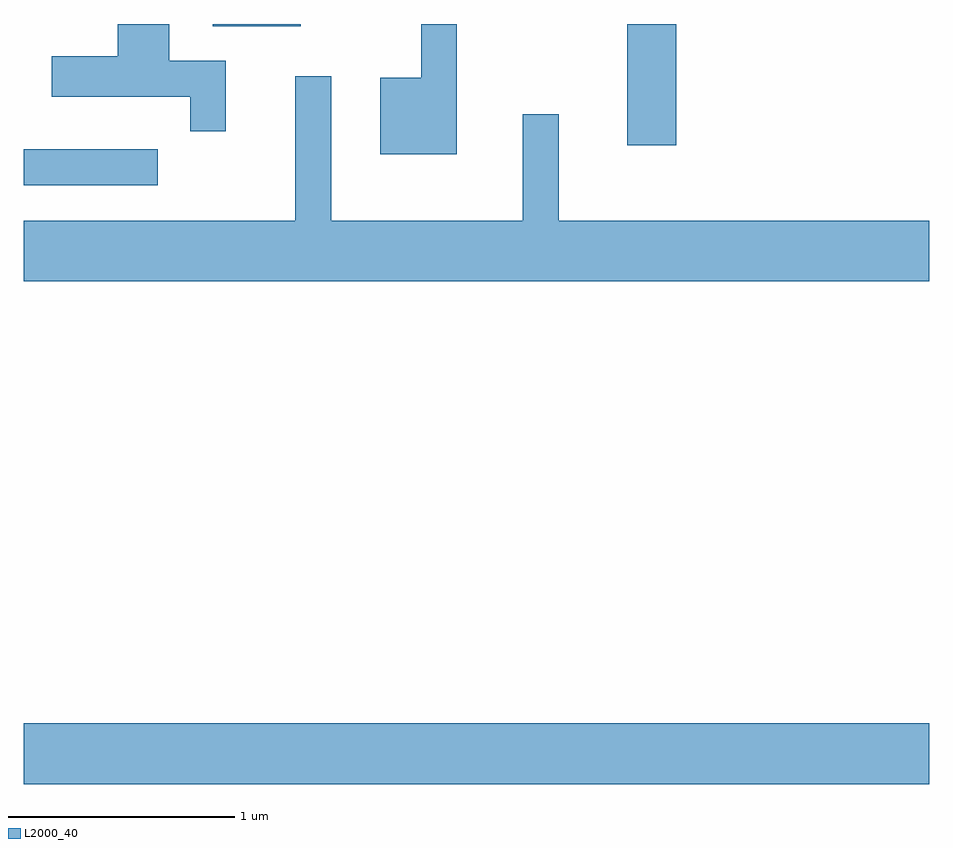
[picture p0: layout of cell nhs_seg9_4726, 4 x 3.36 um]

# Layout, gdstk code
import gdstk
lib = gdstk.Library(unit=1e-6, precision=1e-09)
def R(c, l, rs):  # rectangles x0, y0, x1, y1
    for r in rs: c.add(gdstk.rectangle(r[:2], r[2:], *l))
def P(c, l, *ps):  # polygons
    for p in ps: c.add(gdstk.Polygon(p, *l))
L2000_40 = (2000, 40)

nhs_seg9_4726 = lib.new_cell('nhs_seg9_4726')
R(nhs_seg9_4726, L2000_40, [(323.611,2065.076,327.611,2065.344), (323.611,2067.721,324.203,2067.879), (326.276,2067.896,326.494,2068.432), (324.446,2068.421,324.834,2068.432)])
P(nhs_seg9_4726, L2000_40, [(325.524,2068.432),(325.366,2068.432),(325.366,2068.194),(325.186,2068.194),(325.186,2067.856),(325.524,2067.856)],
  [(324.504,2068.269),(324.254,2068.269),(324.254,2068.432),(324.026,2068.432),(324.026,2068.289),(323.736,2068.289),(323.736,2068.111),(324.346,2068.111),(324.346,2067.958),(324.504,2067.958)],
  [(327.611,2067.564),(325.974,2067.564),(325.974,2068.033),(325.816,2068.033),(325.816,2067.564),(324.969,2067.564),(324.969,2068.202),(324.811,2068.202),(324.811,2067.564),(323.611,2067.564),(323.611,2067.296),(327.611,2067.296)])

lib.write_gds('nhs_seg9_4726.gds')
